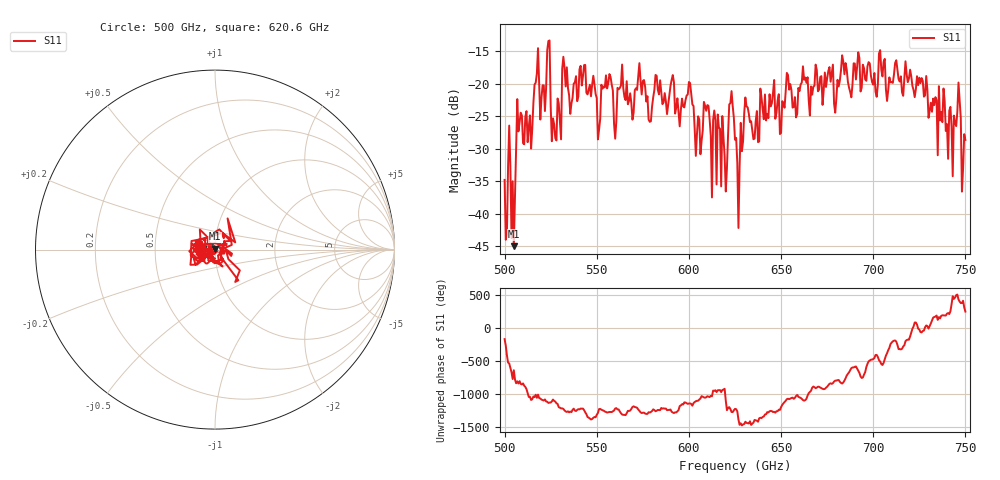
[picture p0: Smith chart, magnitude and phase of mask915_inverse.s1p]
!Created with skrf (http://scikit-rf.org).
# GHz S MA R 50.0
!freq magS11 angS11
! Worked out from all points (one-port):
!   401 points, 500 GHz to 750 GHz, reference 50 ohm
!   lowest |S11| = -45.0 dB at 505 GHz (marker M1), VSWR 1.01, Z = 50.1 + j0.549 ohm
!   |S11| at or under -10 dB: start of sweep to end of sweep
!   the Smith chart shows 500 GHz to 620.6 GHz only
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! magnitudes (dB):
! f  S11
! 500 GHz  -34.8
! 503.1 GHz  -32.8
! 505 GHz  -45.0
! 507.5 GHz  -27.3
! 513.8 GHz  -24.9
! 517.5 GHz  -18.4
! 520.6 GHz  -20.2
! 523.8 GHz  -13.4
! 526.9 GHz  -26.3
! 531.2 GHz  -17.7
! 542.5 GHz  -18.9
! 550.6 GHz  -28.6
! 562.5 GHz  -20.7
! 593.8 GHz  -22.3
! 600 GHz  -19.7
! 605 GHz  -25.0
! 609.4 GHz  -24.2
! 618.8 GHz  -28.3
! 623.1 GHz  -21.2
! 625 GHz  -28.6
! 627.5 GHz  -32.7
! 631.2 GHz  -23.5
! 656.2 GHz  -23.7
! 687.5 GHz  -21.3
! 718.8 GHz  -19.8
! 741.9 GHz  -23.6
! 746.2 GHz  -19.8
! 750 GHz  -28.7
